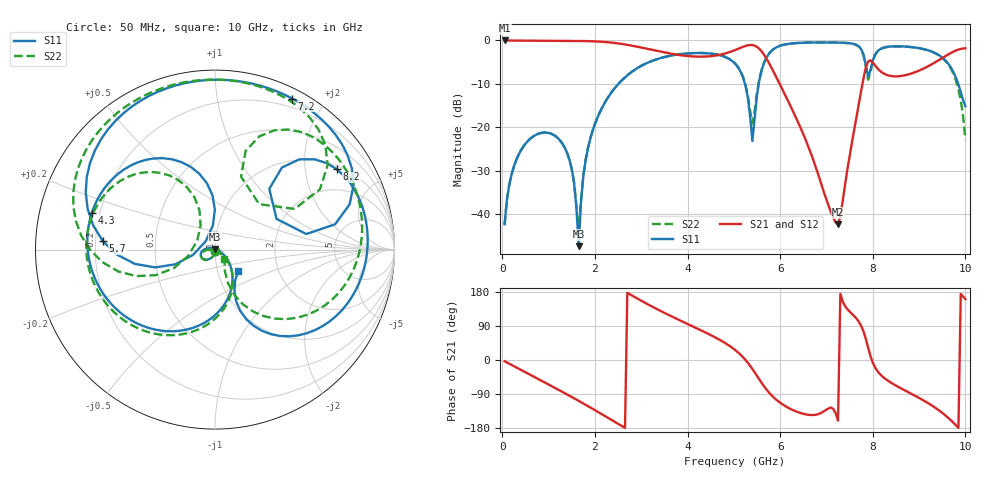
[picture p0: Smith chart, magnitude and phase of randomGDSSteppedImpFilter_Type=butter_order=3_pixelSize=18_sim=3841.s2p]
! freq	dB(S11)	phase(S11)	dB(S12)	phase(S12)
!  dB(S21)	phase(S21)	dB(S22)	phase(S22)
!S-par simulation data
#  GHz  S  DB  R 50
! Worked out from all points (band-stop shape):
!   200 points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, 50 MHz to 10 GHz, reference 50 ohm
!   highest |S21| = -0.01 dB at 50 MHz (marker M1); lowest = -42.4 dB at 7.25 GHz (marker M2)
!   |S21| within 3 dB of the highest: start of sweep to 3.617 GHz; 4.813 GHz to 5.632 GHz (818.6 MHz wide, 15.7 % of centre) (the widest 2 of 3)
!   lowest |S11| = -47.4 dB at 1.65 GHz (marker M3), VSWR 1.01, Z = 50.1 + j0.403 ohm
!   |S11| at or under -10 dB: start of sweep to 2.508 GHz; 5.24 GHz to 5.538 GHz (298.3 MHz wide, 5.54 % of centre); 9.845 GHz to end of sweep
!   |S22| runs from -44.0 to -0.5 dB; largest |S21 - S12| = 0
!   S11 on the Smith chart (normalised r, x): 50 MHz: 1.00, -0.02; 4.3 GHz: 0.17, +0.14; 5.7 GHz: 0.23, +0.04; 7.2 GHz: 0.10, +1.63; 8.2 GHz: 1.12, +2.94; 10 GHz: 1.26, -0.30
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0.05  -42.33 -88.9  -0.01 -3.3  -0.01 -3.3  -42.33 -88.8
0.35  -26.37 -113.3  -0.05 -22.7  -0.05 -22.7  -26.37 -112.1
1  -21.31 -157.1  -0.11 -64.7  -0.11 -64.7  -21.31 -152.9
1.45  -27.49 170.2  -0.12 -94.3  -0.12 -94.3  -27.49 -177.6
1.65  -47.38 70.2  -0.13 -107.8  -0.13 -107.8  -43.98 -103.3
1.75  -31.25 -20.2  -0.14 -114.7  -0.14 -114.7  -31.03 -36.4
2.3  -12.85 -65.8  -0.44 -153.9  -0.44 -153.9  -12.83 -64.6
3.4  -4.12 -143.1  -2.55 130.5  -2.55 130.5  -4.11 -136.9
4.3  -2.90 163.4  -3.74 77.8  -3.74 77.8  -2.89 173.1
5.05  -5.63 111.1  -2.13 24.3  -2.13 24.3  -5.58 125.6
5.4  -23.17 137.9  -1.07 -23.6  -1.07 -23.6  -19.13 154.5
5.7  -4.06 175.7  -4.12 -77.2  -4.12 -77.2  -3.98 -173.8
6.7  -0.48 91.5  -27.04 -145.2  -27.04 -145.2  -0.48 108.3
7.2  -0.49 62.9  -41.91 -141.2  -41.91 -141.2  -0.49 81.3
7.25  -0.50 60.0  -42.38 -160.0  -42.38 -160.0  -0.50 78.5
7.85  -5.74 9.7  -6.26 55.7  -6.26 55.7  -6.06 27.1
7.95  -6.86 48.2  -4.59 10.3  -4.59 10.3  -7.31 70.3
8.2  -1.80 33.4  -7.38 -42.6  -7.38 -42.6  -1.84 54.4
8.35  -1.44 22.5  -8.11 -56.5  -8.11 -56.5  -1.46 43.2
9  -1.78 -16.5  -6.95 -100.1  -6.95 -100.1  -1.79 2.1
9.6  -4.97 -56.6  -3.41 -149.5  -3.41 -149.5  -5.13 -44.4
10  -15.15 -41.8  -1.81 160.7  -1.81 160.7  -22.77 -43.7
